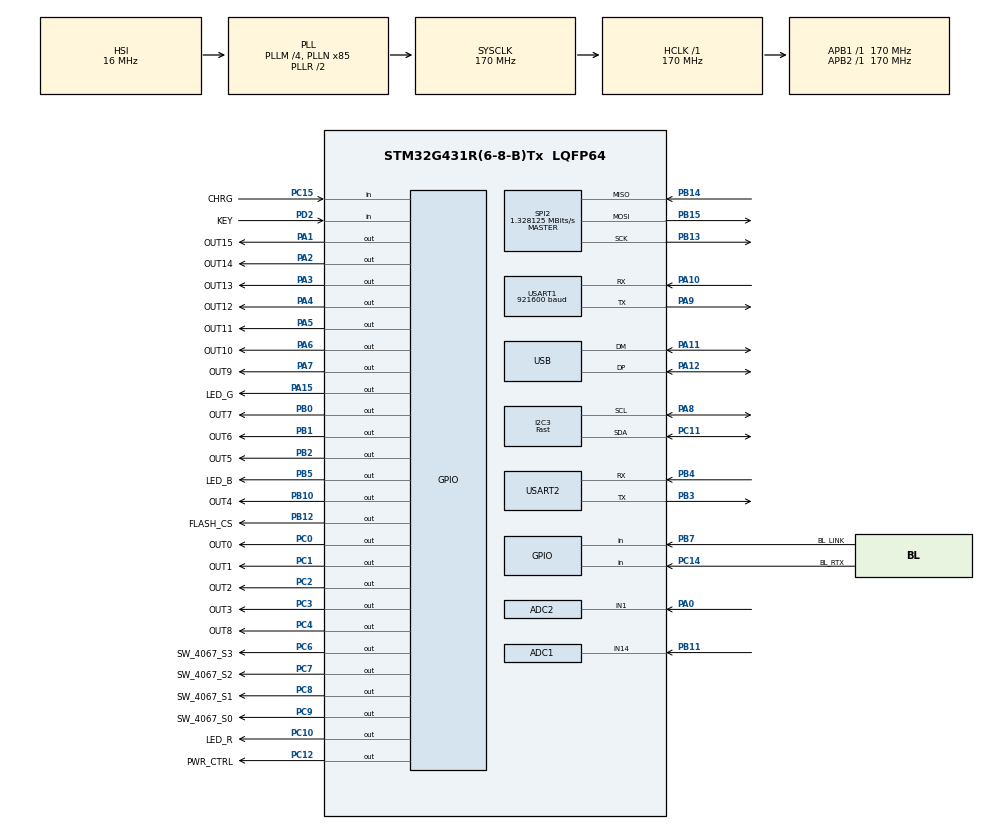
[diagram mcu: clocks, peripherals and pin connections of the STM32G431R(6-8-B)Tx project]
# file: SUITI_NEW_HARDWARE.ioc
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ADC1.Channel-0\#ChannelRegularConversion=ADC_CHANNEL_14
ADC1.ContinuousConvMode=ENABLE
ADC1.DMAContinuousRequests=ENABLE
ADC1.NbrOfConversionFlag=1
ADC1.OffsetNumber-0\#ChannelRegularConversion=ADC_OFFSET_NONE
ADC1.Rank-0\#ChannelRegularConversion=1
ADC1.Resolution=ADC_RESOLUTION_8B
ADC1.SamplingTime-0\#ChannelRegularConversion=ADC_SAMPLETIME_2CYCLES_5
ADC1.master=1
ADC2.Channel-0\#ChannelRegularConversion=ADC_CHANNEL_1
ADC2.ClockPrescaler=ADC_CLOCK_SYNC_PCLK_DIV4
ADC2.ContinuousConvMode=ENABLE
ADC2.DMAContinuousRequests=ENABLE
ADC2.NbrOfConversionFlag=1
ADC2.OffsetNumber-0\#ChannelRegularConversion=ADC_OFFSET_NONE
ADC2.Rank-0\#ChannelRegularConversion=1
ADC2.SamplingTime-0\#ChannelRegularConversion=ADC_SAMPLETIME_640CYCLES_5
Dma.ADC1.1.Direction=DMA_PERIPH_TO_MEMORY
Dma.ADC1.1.EventEnable=DISABLE
Dma.ADC1.1.Instance=DMA1_Channel2
Dma.ADC1.1.MemDataAlignment=DMA_MDATAALIGN_BYTE
Dma.ADC1.1.MemInc=DMA_MINC_ENABLE
Dma.ADC1.1.Mode=DMA_CIRCULAR
Dma.ADC1.1.PeriphDataAlignment=DMA_PDATAALIGN_BYTE
Dma.ADC1.1.PeriphInc=DMA_PINC_DISABLE
Dma.ADC1.1.Polarity=HAL_DMAMUX_REQ_GEN_RISING
Dma.ADC1.1.Priority=DMA_PRIORITY_LOW
Dma.ADC1.1.RequestNumber=1
Dma.ADC1.1.SignalID=NONE
Dma.ADC1.1.SyncEnable=DISABLE
Dma.ADC1.1.SyncPolarity=HAL_DMAMUX_SYNC_NO_EVENT
Dma.ADC1.1.SyncRequestNumber=1
Dma.ADC1.1.SyncSignalID=NONE
Dma.ADC2.0.Direction=DMA_PERIPH_TO_MEMORY
Dma.ADC2.0.EventEnable=DISABLE
Dma.ADC2.0.Instance=DMA1_Channel1
Dma.ADC2.0.MemDataAlignment=DMA_MDATAALIGN_HALFWORD
Dma.ADC2.0.MemInc=DMA_MINC_ENABLE
Dma.ADC2.0.Mode=DMA_CIRCULAR
Dma.ADC2.0.PeriphDataAlignment=DMA_PDATAALIGN_HALFWORD
Dma.ADC2.0.PeriphInc=DMA_PINC_DISABLE
Dma.ADC2.0.Polarity=HAL_DMAMUX_REQ_GEN_RISING
Dma.ADC2.0.Priority=DMA_PRIORITY_LOW
Dma.ADC2.0.RequestNumber=1
Dma.ADC2.0.SignalID=NONE
Dma.ADC2.0.SyncEnable=DISABLE
Dma.ADC2.0.SyncPolarity=HAL_DMAMUX_SYNC_NO_EVENT
Dma.ADC2.0.SyncRequestNumber=1
Dma.ADC2.0.SyncSignalID=NONE
Dma.Request0=ADC2
Dma.Request1=ADC1
Dma.Request2=USART1_RX
Dma.Request3=USART1_TX
Dma.Request4=USART2_RX
Dma.Request5=USART2_TX
Dma.USART1_RX.2.Direction=DMA_PERIPH_TO_MEMORY
Dma.USART1_RX.2.EventEnable=DISABLE
Dma.USART1_RX.2.Instance=DMA1_Channel3
Dma.USART1_RX.2.MemDataAlignment=DMA_MDATAALIGN_BYTE
Dma.USART1_RX.2.MemInc=DMA_MINC_ENABLE
Dma.USART1_RX.2.Mode=DMA_NORMAL
Dma.USART1_RX.2.PeriphDataAlignment=DMA_PDATAALIGN_BYTE
Dma.USART1_RX.2.PeriphInc=DMA_PINC_DISABLE
Dma.USART1_RX.2.Polarity=HAL_DMAMUX_REQ_GEN_RISING
Dma.USART1_RX.2.Priority=DMA_PRIORITY_LOW
Dma.USART1_RX.2.RequestNumber=1
Dma.USART1_RX.2.SignalID=NONE
Dma.USART1_RX.2.SyncEnable=DISABLE
Dma.USART1_RX.2.SyncPolarity=HAL_DMAMUX_SYNC_NO_EVENT
Dma.USART1_RX.2.SyncRequestNumber=1
Dma.USART1_RX.2.SyncSignalID=NONE
Dma.USART1_TX.3.Direction=DMA_MEMORY_TO_PERIPH
Dma.USART1_TX.3.EventEnable=DISABLE
Dma.USART1_TX.3.Instance=DMA1_Channel4
Dma.USART1_TX.3.MemDataAlignment=DMA_MDATAALIGN_BYTE
Dma.USART1_TX.3.MemInc=DMA_MINC_ENABLE
Dma.USART1_TX.3.Mode=DMA_NORMAL
Dma.USART1_TX.3.PeriphDataAlignment=DMA_PDATAALIGN_BYTE
Dma.USART1_TX.3.PeriphInc=DMA_PINC_DISABLE
Dma.USART1_TX.3.Polarity=HAL_DMAMUX_REQ_GEN_RISING
Dma.USART1_TX.3.Priority=DMA_PRIORITY_LOW
Dma.USART1_TX.3.RequestNumber=1
Dma.USART1_TX.3.SignalID=NONE
Dma.USART1_TX.3.SyncEnable=DISABLE
Dma.USART1_TX.3.SyncPolarity=HAL_DMAMUX_SYNC_NO_EVENT
Dma.USART1_TX.3.SyncRequestNumber=1
Dma.USART1_TX.3.SyncSignalID=NONE
Dma.USART2_RX.4.Direction=DMA_PERIPH_TO_MEMORY
Dma.USART2_RX.4.EventEnable=DISABLE
Dma.USART2_RX.4.Instance=DMA1_Channel5
Dma.USART2_RX.4.MemDataAlignment=DMA_MDATAALIGN_BYTE
Dma.USART2_RX.4.MemInc=DMA_MINC_ENABLE
Dma.USART2_RX.4.Mode=DMA_NORMAL
Dma.USART2_RX.4.PeriphDataAlignment=DMA_PDATAALIGN_BYTE
Dma.USART2_RX.4.PeriphInc=DMA_PINC_DISABLE
Dma.USART2_RX.4.Polarity=HAL_DMAMUX_REQ_GEN_RISING
Dma.USART2_RX.4.Priority=DMA_PRIORITY_LOW
Dma.USART2_RX.4.RequestNumber=1
Dma.USART2_RX.4.SignalID=NONE
Dma.USART2_RX.4.SyncEnable=DISABLE
Dma.USART2_RX.4.SyncPolarity=HAL_DMAMUX_SYNC_NO_EVENT
Dma.USART2_RX.4.SyncRequestNumber=1
Dma.USART2_RX.4.SyncSignalID=NONE
Dma.USART2_TX.5.Direction=DMA_MEMORY_TO_PERIPH
Dma.USART2_TX.5.EventEnable=DISABLE
Dma.USART2_TX.5.Instance=DMA1_Channel6
Dma.USART2_TX.5.MemDataAlignment=DMA_MDATAALIGN_BYTE
Dma.USART2_TX.5.MemInc=DMA_MINC_ENABLE
Dma.USART2_TX.5.Mode=DMA_NORMAL
Dma.USART2_TX.5.PeriphDataAlignment=DMA_PDATAALIGN_BYTE
Dma.USART2_TX.5.PeriphInc=DMA_PINC_DISABLE
Dma.USART2_TX.5.Polarity=HAL_DMAMUX_REQ_GEN_RISING
Dma.USART2_TX.5.Priority=DMA_PRIORITY_LOW
Dma.USART2_TX.5.RequestNumber=1
Dma.USART2_TX.5.SignalID=NONE
Dma.USART2_TX.5.SyncEnable=DISABLE
Dma.USART2_TX.5.SyncPolarity=HAL_DMAMUX_SYNC_NO_EVENT
Dma.USART2_TX.5.SyncRequestNumber=1
Dma.USART2_TX.5.SyncSignalID=NONE
I2C3.I2C_Speed_Mode=I2C_Fast
I2C3.Timing=0x40621236
Mcu.Family=STM32G4
Mcu.Name=STM32G431R(6-8-B)Tx
Mcu.Package=LQFP64
NVIC.DMA1_Channel1_IRQn=true\:0\:0\:false\:false\:true\:false\:true\:true
NVIC.DMA1_Channel2_IRQn=true\:0\:0\:false\:false\:true\:false\:true\:true
NVIC.DMA1_Channel3_IRQn=true\:0\:0\:false\:false\:true\:false\:true\:true
NVIC.DMA1_Channel4_IRQn=true\:0\:0\:false\:false\:true\:false\:true\:true
NVIC.DMA1_Channel5_IRQn=true\:0\:0\:false\:false\:true\:false\:true\:true
NVIC.DMA1_Channel6_IRQn=true\:0\:0\:false\:false\:true\:false\:true\:true
NVIC.PriorityGroup=NVIC_PRIORITYGROUP_4
NVIC.USART1_IRQn=true\:0\:0\:false\:false\:true\:false\:true\:true
NVIC.USART2_IRQn=true\:0\:0\:false\:false\:true\:false\:true\:true
NVIC.USB_LP_IRQn=true\:0\:0\:false\:false\:true\:false\:true\:true
PA0.Mode=IN1-Single-Ended
PA0.Signal=ADC2_IN1
PA1.GPIO_Label=OUT15
PA1.GPIO_ModeDefaultOutputPP=GPIO_MODE_OUTPUT_PP
PA1.GPIO_PuPd=GPIO_NOPULL
PA1.GPIO_Speed=GPIO_SPEED_FREQ_VERY_HIGH
PA1.PinState=GPIO_PIN_RESET
PA1.Signal=GPIO_Output
PA10.Mode=Asynchronous
PA10.Signal=USART1_RX
PA11.Mode=Device
PA11.Signal=USB_DM
PA12.Mode=Device
PA12.Signal=USB_DP
PA13.Mode=Serial_Wire
PA13.Signal=SYS_JTMS-SWDIO
PA14.Mode=Serial_Wire
PA14.Signal=SYS_JTCK-SWCLK
PA15.GPIO_Label=LED_G
PA15.GPIO_ModeDefaultOutputPP=GPIO_MODE_OUTPUT_PP
PA15.GPIO_PuPd=GPIO_NOPULL
PA15.GPIO_Speed=GPIO_SPEED_FREQ_LOW
PA15.PinState=GPIO_PIN_SET
PA15.Signal=GPIO_Output
PA2.GPIO_Label=OUT14
PA2.GPIO_ModeDefaultOutputPP=GPIO_MODE_OUTPUT_PP
PA2.GPIO_PuPd=GPIO_NOPULL
PA2.GPIO_Speed=GPIO_SPEED_FREQ_VERY_HIGH
PA2.PinState=GPIO_PIN_RESET
PA2.Signal=GPIO_Output
PA3.GPIO_Label=OUT13
PA3.GPIO_ModeDefaultOutputPP=GPIO_MODE_OUTPUT_PP
PA3.GPIO_PuPd=GPIO_NOPULL
PA3.GPIO_Speed=GPIO_SPEED_FREQ_VERY_HIGH
PA3.PinState=GPIO_PIN_RESET
PA3.Signal=GPIO_Output
PA4.GPIO_Label=OUT12
PA4.GPIO_ModeDefaultOutputPP=GPIO_MODE_OUTPUT_PP
PA4.GPIO_PuPd=GPIO_NOPULL
PA4.GPIO_Speed=GPIO_SPEED_FREQ_VERY_HIGH
PA4.PinState=GPIO_PIN_RESET
PA4.Signal=GPIO_Output
PA5.GPIO_Label=OUT11
PA5.GPIO_ModeDefaultOutputPP=GPIO_MODE_OUTPUT_PP
PA5.GPIO_PuPd=GPIO_NOPULL
PA5.GPIO_Speed=GPIO_SPEED_FREQ_VERY_HIGH
PA5.PinState=GPIO_PIN_RESET
PA5.Signal=GPIO_Output
PA6.GPIO_Label=OUT10
PA6.GPIO_ModeDefaultOutputPP=GPIO_MODE_OUTPUT_PP
PA6.GPIO_PuPd=GPIO_NOPULL
PA6.GPIO_Speed=GPIO_SPEED_FREQ_VERY_HIGH
PA6.PinState=GPIO_PIN_RESET
PA6.Signal=GPIO_Output
PA7.GPIO_Label=OUT9
PA7.GPIO_ModeDefaultOutputPP=GPIO_MODE_OUTPUT_PP
PA7.GPIO_PuPd=GPIO_NOPULL
PA7.GPIO_Speed=GPIO_SPEED_FREQ_VERY_HIGH
PA7.PinState=GPIO_PIN_RESET
PA7.Signal=GPIO_Output
PA8.Mode=I2C
PA8.Signal=I2C3_SCL
PA9.Mode=Asynchronous
PA9.Signal=USART1_TX
PB0.GPIO_Label=OUT7
PB0.GPIO_ModeDefaultOutputPP=GPIO_MODE_OUTPUT_PP
PB0.GPIO_PuPd=GPIO_NOPULL
PB0.GPIO_Speed=GPIO_SPEED_FREQ_VERY_HIGH
PB0.PinState=GPIO_PIN_RESET
PB0.Signal=GPIO_Output
PB1.GPIO_Label=OUT6
PB1.GPIO_ModeDefaultOutputPP=GPIO_MODE_OUTPUT_PP
PB1.GPIO_PuPd=GPIO_NOPULL
PB1.GPIO_Speed=GPIO_SPEED_FREQ_VERY_HIGH
PB1.PinState=GPIO_PIN_RESET
PB1.Signal=GPIO_Output
PB10.GPIO_Label=OUT4
PB10.GPIO_ModeDefaultOutputPP=GPIO_MODE_OUTPUT_PP
PB10.GPIO_PuPd=GPIO_NOPULL
PB10.GPIO_Speed=GPIO_SPEED_FREQ_VERY_HIGH
PB10.PinState=GPIO_PIN_RESET
PB10.Signal=GPIO_Output
PB11.Mode=IN14-Single-Ended
PB11.Signal=ADC1_IN14
PB12.GPIO_Label=FLASH_CS
PB12.GPIO_Speed=GPIO_SPEED_FREQ_VERY_HIGH
PB12.PinState=GPIO_PIN_SET
PB12.Signal=GPIO_Output
PB13.Mode=Full_Duplex_Master
PB13.Signal=SPI2_SCK
PB14.Mode=Full_Duplex_Master
PB14.Signal=SPI2_MISO
PB15.Mode=Full_Duplex_Master
PB15.Signal=SPI2_MOSI
PB2.GPIO_Label=OUT5
PB2.GPIO_ModeDefaultOutputPP=GPIO_MODE_OUTPUT_PP
PB2.GPIO_PuPd=GPIO_NOPULL
PB2.GPIO_Speed=GPIO_SPEED_FREQ_VERY_HIGH
PB2.PinState=GPIO_PIN_RESET
PB2.Signal=GPIO_Output
PB3.Mode=Asynchronous
PB3.Signal=USART2_TX
PB4.Mode=Asynchronous
PB4.Signal=USART2_RX
PB5.GPIO_Label=LED_B
PB5.GPIO_ModeDefaultOutputPP=GPIO_MODE_OUTPUT_PP
PB5.GPIO_PuPd=GPIO_NOPULL
PB5.GPIO_Speed=GPIO_SPEED_FREQ_LOW
PB5.PinState=GPIO_PIN_SET
PB5.Signal=GPIO_Output
PB7.GPIO_Label=BL_LINK
PB7.Signal=GPIO_Input
PC0.GPIO_Label=OUT0
PC0.GPIO_ModeDefaultOutputPP=GPIO_MODE_OUTPUT_PP
PC0.GPIO_PuPd=GPIO_NOPULL
PC0.GPIO_Speed=GPIO_SPEED_FREQ_VERY_HIGH
PC0.PinState=GPIO_PIN_RESET
PC0.Signal=GPIO_Output
PC1.GPIO_Label=OUT1
PC1.GPIO_ModeDefaultOutputPP=GPIO_MODE_OUTPUT_PP
PC1.GPIO_PuPd=GPIO_NOPULL
PC1.GPIO_Speed=GPIO_SPEED_FREQ_VERY_HIGH
PC1.PinState=GPIO_PIN_RESET
PC1.Signal=GPIO_Output
PC10.GPIO_Label=LED_R
PC10.GPIO_ModeDefaultOutputPP=GPIO_MODE_OUTPUT_PP
PC10.GPIO_PuPd=GPIO_NOPULL
PC10.GPIO_Speed=GPIO_SPEED_FREQ_LOW
PC10.PinState=GPIO_PIN_SET
PC10.Signal=GPIO_Output
PC11.Mode=I2C
PC11.Signal=I2C3_SDA
PC12.GPIO_Label=PWR_CTRL
PC12.PinState=GPIO_PIN_RESET
PC12.Signal=GPIO_Output
PC14-OSC32_IN.GPIO_Label=BL_RTX
PC14-OSC32_IN.Signal=GPIO_Input
PC15-OSC32_OUT.GPIO_Label=CHRG
PC15-OSC32_OUT.Signal=GPIO_Input
PC2.GPIO_Label=OUT2
PC2.GPIO_ModeDefaultOutputPP=GPIO_MODE_OUTPUT_PP
PC2.GPIO_PuPd=GPIO_NOPULL
PC2.GPIO_Speed=GPIO_SPEED_FREQ_VERY_HIGH
PC2.PinState=GPIO_PIN_RESET
PC2.Signal=GPIO_Output
PC3.GPIO_Label=OUT3
PC3.GPIO_ModeDefaultOutputPP=GPIO_MODE_OUTPUT_PP
PC3.GPIO_PuPd=GPIO_NOPULL
PC3.GPIO_Speed=GPIO_SPEED_FREQ_VERY_HIGH
PC3.PinState=GPIO_PIN_RESET
PC3.Signal=GPIO_Output
PC4.GPIO_Label=OUT8
PC4.GPIO_ModeDefaultOutputPP=GPIO_MODE_OUTPUT_PP
PC4.GPIO_PuPd=GPIO_NOPULL
PC4.GPIO_Speed=GPIO_SPEED_FREQ_VERY_HIGH
PC4.PinState=GPIO_PIN_RESET
PC4.Signal=GPIO_Output
PC6.GPIO_Label=SW_4067_S3
PC6.GPIO_ModeDefaultOutputPP=GPIO_MODE_OUTPUT_PP
PC6.GPIO_PuPd=GPIO_NOPULL
PC6.GPIO_Speed=GPIO_SPEED_FREQ_VERY_HIGH
PC6.PinState=GPIO_PIN_RESET
PC6.Signal=GPIO_Output
PC7.GPIO_Label=SW_4067_S2
PC7.GPIO_ModeDefaultOutputPP=GPIO_MODE_OUTPUT_PP
PC7.GPIO_PuPd=GPIO_NOPULL
PC7.GPIO_Speed=GPIO_SPEED_FREQ_VERY_HIGH
PC7.PinState=GPIO_PIN_RESET
PC7.Signal=GPIO_Output
PC8.GPIO_Label=SW_4067_S1
PC8.GPIO_ModeDefaultOutputPP=GPIO_MODE_OUTPUT_PP
PC8.GPIO_PuPd=GPIO_NOPULL
PC8.GPIO_Speed=GPIO_SPEED_FREQ_VERY_HIGH
PC8.PinState=GPIO_PIN_RESET
PC8.Signal=GPIO_Output
PC9.GPIO_Label=SW_4067_S0
PC9.GPIO_ModeDefaultOutputPP=GPIO_MODE_OUTPUT_PP
PC9.GPIO_PuPd=GPIO_NOPULL
PC9.GPIO_Speed=GPIO_SPEED_FREQ_VERY_HIGH
PC9.PinState=GPIO_PIN_RESET
PC9.Signal=GPIO_Output
PD2.GPIO_Label=KEY
PD2.Signal=GPIO_Input
PF0-OSC_IN.Mode=HSE-External-Oscillator
PF0-OSC_IN.Signal=RCC_OSC_IN
PF1-OSC_OUT.Mode=HSE-External-Oscillator
PF1-OSC_OUT.Signal=RCC_OSC_OUT
ProjectManager.HeapSize=0x200
ProjectManager.StackSize=0x400
ProjectManager.TargetToolchain=MDK-ARM V5.32
RCC.ADC12Freq_Value=170000000
RCC.AHBFreq_Value=170000000
RCC.APB1Freq_Value=170000000
RCC.APB1TimFreq_Value=170000000
RCC.APB2Freq_Value=170000000
RCC.APB2TimFreq_Value=170000000
RCC.CK48CLockSelection=RCC_USBCLKSOURCE_HSI48
RCC.CortexFreq_Value=170000000
RCC.EXTERNAL_CLOCK_VALUE=12288000
RCC.HCLKFreq_Value=170000000
RCC.HSE_VALUE=25000000
RCC.HSI48_VALUE=48000000
RCC.HSI_VALUE=16000000
RCC.LSE_VALUE=32768
RCC.PLLM=RCC_PLLM_DIV4
RCC.PLLN=85
RCC.PLLQ=RCC_PLLQ_DIV6
RCC.SYSCLKFreq_VALUE=170000000
RCC.SYSCLKSource=RCC_SYSCLKSOURCE_PLLCLK
RCC.USBFreq_Value=48000000
RCC.VCOOutputFreq_Value=340000000
SPI2.BaudRatePrescaler=SPI_BAUDRATEPRESCALER_128
SPI2.CalculateBaudRate=1.328125 MBits/s
SPI2.DataSize=SPI_DATASIZE_8BIT
SPI2.Direction=SPI_DIRECTION_2LINES
SPI2.Mode=SPI_MODE_MASTER
SPI2.VirtualType=VM_MASTER
USART1.BaudRate=921600
USART1.VirtualMode-Asynchronous=VM_ASYNC
USART2.VirtualMode-Asynchronous=VM_ASYNC
USB_DEVICE.CLASS_NAME_FS=CDC
USB_DEVICE.VirtualMode=Cdc
USB_DEVICE.VirtualModeFS=Cdc_FS
VP_IWDG_VS_IWDG.Mode=IWDG_Activate
VP_SYS_VS_DBSignals.Mode=DisableDeadBatterySignals
VP_USB_DEVICE_VS_USB_DEVICE_CDC_FS.Mode=CDC_FS
board=custom

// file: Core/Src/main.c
/* USER CODE BEGIN Header */
/**
 ******************************************************************************
 * @file           : main.c
 * @brief          : Main program body
 ******************************************************************************
 * @attention
 *
 * Copyright (c) 2026 STMicroelectronics.
 * All rights reserved.
 *
 * This software is licensed under terms that can be found in the LICENSE file
 * in the root directory of this software component.
 * If no LICENSE file comes with this software, it is provided AS-IS.
 *
 ******************************************************************************
 */
/* USER CODE END Header */
#include "main.h"
#include "adc.h"
#include "dma.h"
#include "i2c.h"
#include "iwdg.h"
#include "spi.h"
#include "usart.h"
#include "usb_device.h"
#include "gpio.h"

/* USER CODE BEGIN Includes */
#include "user_comm.h"
/* USER CODE END Includes */

void SystemClock_Config(void);

int main(void)
{

    /* MCU Configuration--------------------------------------------------------*/

    /* Reset of all peripherals, Initializes the Flash interface and the Systick. */
    HAL_Init();

    /* Configure the system clock */
    SystemClock_Config();

    /* Initialize all configured peripherals */
    MX_GPIO_Init();
    MX_DMA_Init();
    // MX_IWDG_Init();
    MX_ADC2_Init();
    MX_ADC1_Init();
    MX_SPI2_Init();
    MX_USART1_UART_Init();
    MX_I2C3_Init();
    MX_USART2_UART_Init();
    // MX_USB_Device_Init();
    /* USER CODE BEGIN 2 */

    delay_init();

    start_control();

    // delay_ms(2000);
    crc32_init();

    SD_Init_SDSC();

    // look_for_used_block_test();
    // sd_look_for_avliable_block();
    delay_ms(10);

    // read_test();

    check_mems_type();

    // 根据不同的MEMS型号进行初始化
    init_mems();

    // start_uart_rx();

    uart2_rx_dma_start();

    // HAL_ADC_Start_DMA(&hadc2, (uint32_t *)bat_val_dma_buf, ADC2_DMA_BUF_LEN);
    // HAL_ADC_Start_DMA(&hadc1, (uint32_t *)adc_dma_buffer, ADC_BUFFER_SIZE);

    fill_tx_data();

    DBG_PRINTF("System Initialized\r\n");

    // HAL_GPIO_WritePin(LED_B_GPIO_Port, LED_B_Pin, GPIO_PIN_RESET);
    // HAL_GPIO_WritePin(LED_R_GPIO_Port, LED_R_Pin, GPIO_PIN_RESET);
    // HAL_GPIO_WritePin(LED_G_GPIO_Port, LED_G_Pin, GPIO_PIN_RESET);
    /* USER CODE END 2 */

    /* Infinite loop */
    /* USER CODE BEGIN WHILE */
    while (1)
    {

        feed_iwdg();

        bat_task();

        led_task();

        com_task();

        key_task();

        bl_link_status_check();

        mems_task();

        imu_rest_cmd_task();

        u2_task();

        main_adc_task();

        bl_task();

        his_data_sd_task();

        write_last_block_idx_task();

        show_data_upload_status();

        // sd_card_task();

        // usb_test();

        /* USER CODE END WHILE */

    }
}

void SystemClock_Config(void)
{
    RCC_OscInitTypeDef RCC_OscInitStruct = {0};
    RCC_ClkInitTypeDef RCC_ClkInitStruct = {0};

    /** Configure the main internal regulator output voltage
     */
    HAL_PWREx_ControlVoltageScaling(PWR_REGULATOR_VOLTAGE_SCALE1_BOOST);

    /** Initializes the RCC Oscillators according to the specified parameters
     * in the RCC_OscInitTypeDef structure.
     */
    RCC_OscInitStruct.OscillatorType = RCC_OSCILLATORTYPE_HSI | RCC_OSCILLATORTYPE_HSI48 | RCC_OSCILLATORTYPE_LSI;
    RCC_OscInitStruct.HSIState = RCC_HSI_ON;
    RCC_OscInitStruct.HSICalibrationValue = RCC_HSICALIBRATION_DEFAULT;
    RCC_OscInitStruct.LSIState = RCC_LSI_ON;
    RCC_OscInitStruct.HSI48State = RCC_HSI48_ON;
    RCC_OscInitStruct.PLL.PLLState = RCC_PLL_ON;
    RCC_OscInitStruct.PLL.PLLSource = RCC_PLLSOURCE_HSI;
    RCC_OscInitStruct.PLL.PLLM = RCC_PLLM_DIV4;
    RCC_OscInitStruct.PLL.PLLN = 85;
    RCC_OscInitStruct.PLL.PLLP = RCC_PLLP_DIV2;
    RCC_OscInitStruct.PLL.PLLQ = RCC_PLLQ_DIV6;
    RCC_OscInitStruct.PLL.PLLR = RCC_PLLR_DIV2;
    if (HAL_RCC_OscConfig(&RCC_OscInitStruct) != HAL_OK)
    {
        Error_Handler();
    }

    /** Initializes the CPU, AHB and APB buses clocks
     */
    RCC_ClkInitStruct.ClockType = RCC_CLOCKTYPE_HCLK | RCC_CLOCKTYPE_SYSCLK | RCC_CLOCKTYPE_PCLK1 | RCC_CLOCKTYPE_PCLK2;
    RCC_ClkInitStruct.SYSCLKSource = RCC_SYSCLKSOURCE_PLLCLK;
    RCC_ClkInitStruct.AHBCLKDivider = RCC_SYSCLK_DIV1;
    RCC_ClkInitStruct.APB1CLKDivider = RCC_HCLK_DIV1;
    RCC_ClkInitStruct.APB2CLKDivider = RCC_HCLK_DIV1;

    if (HAL_RCC_ClockConfig(&RCC_ClkInitStruct, FLASH_LATENCY_4) != HAL_OK)
    {
        Error_Handler();
    }
}

void Error_Handler(void)
{
    __disable_irq();
    while (1)
    {
    }
}
